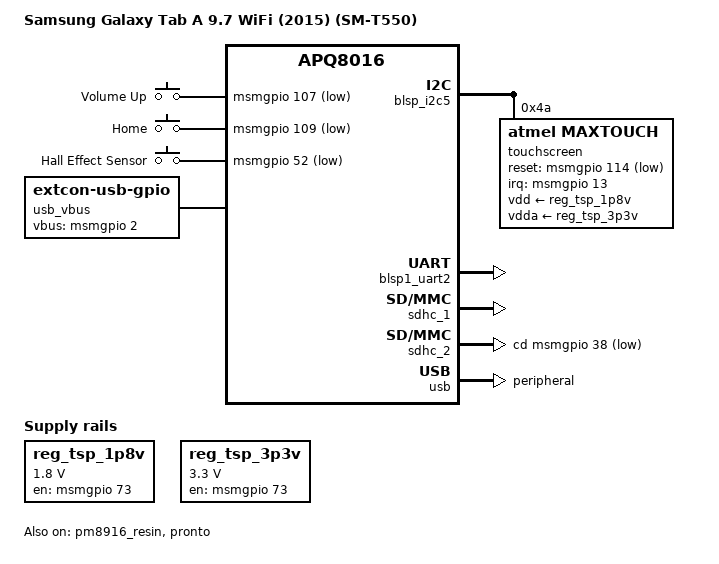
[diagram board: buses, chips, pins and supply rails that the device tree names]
// SPDX-License-Identifier: GPL-2.0-only

/dts-v1/;

#include "msm8916-pm8916.dtsi"
#include "msm8916-no-psci.dtsi"
#include <dt-bindings/gpio/gpio.h>
#include <dt-bindings/input/input.h>
#include <dt-bindings/interrupt-controller/irq.h>

/ {
	model = "Samsung Galaxy Tab A 9.7 WiFi (2015) (SM-T550)";
	compatible = "samsung,gt510wifi", "qcom,apq8016";

	aliases {
		serial0 = &blsp1_uart2;
	};

	chosen {
		stdout-path = "serial0";
	};

	reserved-memory {
		/* Additional memory used by Samsung firmware modifications */
		tz-apps@85500000 {
			reg = <0x0 0x85500000 0x0 0xb00000>;
			no-map;
		};
	};

	gpio-keys {
		compatible = "gpio-keys";

		pinctrl-names = "default";
		pinctrl-0 = <&gpio_keys_default>;

		label = "GPIO Buttons";

		volume-up {
			label = "Volume Up";
			gpios = <&msmgpio 107 GPIO_ACTIVE_LOW>;
			linux,code = <KEY_VOLUMEUP>;
		};

		home {
			label = "Home";
			gpios = <&msmgpio 109 GPIO_ACTIVE_LOW>;
			linux,code = <KEY_HOMEPAGE>;
		};
	};

	gpio-hall-sensor {
		compatible = "gpio-keys";

		pinctrl-names = "default";
		pinctrl-0 = <&gpio_hall_sensor_default>;

		label = "GPIO Hall Effect Sensor";

		hall-sensor {
			label = "Hall Effect Sensor";
			gpios = <&msmgpio 52 GPIO_ACTIVE_LOW>;
			linux,input-type = <EV_SW>;
			linux,code = <SW_LID>;
			linux,can-disable;
		};
	};

	reg_tsp_1p8v: regulator-tsp-1p8v {
		compatible = "regulator-fixed";
		regulator-name = "tsp_1p8v";
		regulator-min-microvolt = <1800000>;
		regulator-max-microvolt = <1800000>;

		gpio = <&msmgpio 73 GPIO_ACTIVE_HIGH>;
		enable-active-high;

		pinctrl-names = "default";
		pinctrl-0 = <&tsp_en_default>;
	};

	reg_tsp_3p3v: regulator-tsp-3p3v {
		compatible = "regulator-fixed";
		regulator-name = "tsp_3p3v";
		regulator-min-microvolt = <3300000>;
		regulator-max-microvolt = <3300000>;

		gpio = <&msmgpio 73 GPIO_ACTIVE_HIGH>;
		enable-active-high;
	};

	// FIXME: Use extcon device provided by MUIC driver when available
	usb_vbus: usb-vbus {
		compatible = "linux,extcon-usb-gpio";
		vbus-gpio = <&msmgpio 2 GPIO_ACTIVE_HIGH>;
	};
};

&blsp_i2c5 {
	status = "okay";

	touchscreen@4a {
		compatible = "atmel,maxtouch";
		reg = <0x4a>;
		interrupt-parent = <&msmgpio>;
		interrupts = <13 IRQ_TYPE_EDGE_FALLING>;

		vdd-supply = <&reg_tsp_1p8v>;
		vdda-supply = <&reg_tsp_3p3v>;

		reset-gpios = <&msmgpio 114 GPIO_ACTIVE_LOW>;

		pinctrl-names = "default";
		pinctrl-0 = <&tsp_int_rst_default>;
	};
};

&blsp1_uart2 {
	status = "okay";
};

&pm8916_resin {
	status = "okay";
	linux,code = <KEY_VOLUMEDOWN>;
};

&pronto {
	status = "okay";

	iris {
		compatible = "qcom,wcn3660b";
	};
};

&sdhc_1 {
	status = "okay";

	pinctrl-names = "default", "sleep";
	pinctrl-0 = <&sdc1_clk_on &sdc1_cmd_on &sdc1_data_on>;
	pinctrl-1 = <&sdc1_clk_off &sdc1_cmd_off &sdc1_data_off>;
};

&sdhc_2 {
	status = "okay";

	pinctrl-names = "default", "sleep";
	pinctrl-0 = <&sdc2_clk_on &sdc2_cmd_on &sdc2_data_on &sdc2_cd_on>;
	pinctrl-1 = <&sdc2_clk_off &sdc2_cmd_off &sdc2_data_off &sdc2_cd_off>;

	cd-gpios = <&msmgpio 38 GPIO_ACTIVE_LOW>;
};

&usb {
	status = "okay";
	dr_mode = "peripheral";
	extcon = <&usb_vbus>;
};

&usb_hs_phy {
	extcon = <&usb_vbus>;
};

&smd_rpm_regulators {
	vdd_l1_l2_l3-supply = <&pm8916_s3>;
	vdd_l4_l5_l6-supply = <&pm8916_s4>;
	vdd_l7-supply = <&pm8916_s4>;

	s3 {
		regulator-min-microvolt = <1200000>;
		regulator-max-microvolt = <1300000>;
	};

	s4 {
		regulator-min-microvolt = <1800000>;
		regulator-max-microvolt = <2100000>;
	};

	l1 {
		regulator-min-microvolt = <1225000>;
		regulator-max-microvolt = <1225000>;
	};

	l2 {
		regulator-min-microvolt = <1200000>;
		regulator-max-microvolt = <1200000>;
	};

	l4 {
		regulator-min-microvolt = <2050000>;
		regulator-max-microvolt = <2050000>;
	};

	l5 {
		regulator-min-microvolt = <1800000>;
		regulator-max-microvolt = <1800000>;
	};

	l6 {
		regulator-min-microvolt = <1800000>;
		regulator-max-microvolt = <1800000>;
	};

	l7 {
		regulator-min-microvolt = <1800000>;
		regulator-max-microvolt = <1800000>;
	};

	l8 {
		regulator-min-microvolt = <2850000>;
		regulator-max-microvolt = <2900000>;
	};

	l9 {
		regulator-min-microvolt = <3300000>;
		regulator-max-microvolt = <3300000>;
	};

	l10 {
		regulator-min-microvolt = <2700000>;
		regulator-max-microvolt = <2800000>;
	};

	l11 {
		regulator-min-microvolt = <1800000>;
		regulator-max-microvolt = <2950000>;
		regulator-allow-set-load;
		regulator-system-load = <200000>;
	};

	l12 {
		regulator-min-microvolt = <1800000>;
		regulator-max-microvolt = <2950000>;
	};

	l13 {
		regulator-min-microvolt = <3075000>;
		regulator-max-microvolt = <3075000>;
	};

	l14 {
		regulator-min-microvolt = <1800000>;
		regulator-max-microvolt = <3300000>;
	};

	l15 {
		regulator-min-microvolt = <1800000>;
		regulator-max-microvolt = <3300000>;
	};

	l16 {
		regulator-min-microvolt = <1800000>;
		regulator-max-microvolt = <3300000>;
	};

	l17 {
		regulator-min-microvolt = <2850000>;
		regulator-max-microvolt = <2850000>;
	};

	l18 {
		regulator-min-microvolt = <2700000>;
		regulator-max-microvolt = <2700000>;
	};
};

&msmgpio {
	gpio_keys_default: gpio-keys-default {
		pins = "gpio107", "gpio109";
		function = "gpio";

		drive-strength = <2>;
		bias-pull-up;
	};

	gpio_hall_sensor_default: gpio-hall-sensor-default {
		pins = "gpio52";
		function = "gpio";

		drive-strength = <2>;
		bias-disable;
	};

	tsp_en_default: tsp-en-default {
		pins = "gpio73";
		function = "gpio";

		drive-strength = <2>;
		bias-disable;
	};

	tsp_int_rst_default: tsp-int-rst-default {
		pins = "gpio13", "gpio114";
		function = "gpio";

		drive-strength = <2>;
		bias-disable;
	};
};
